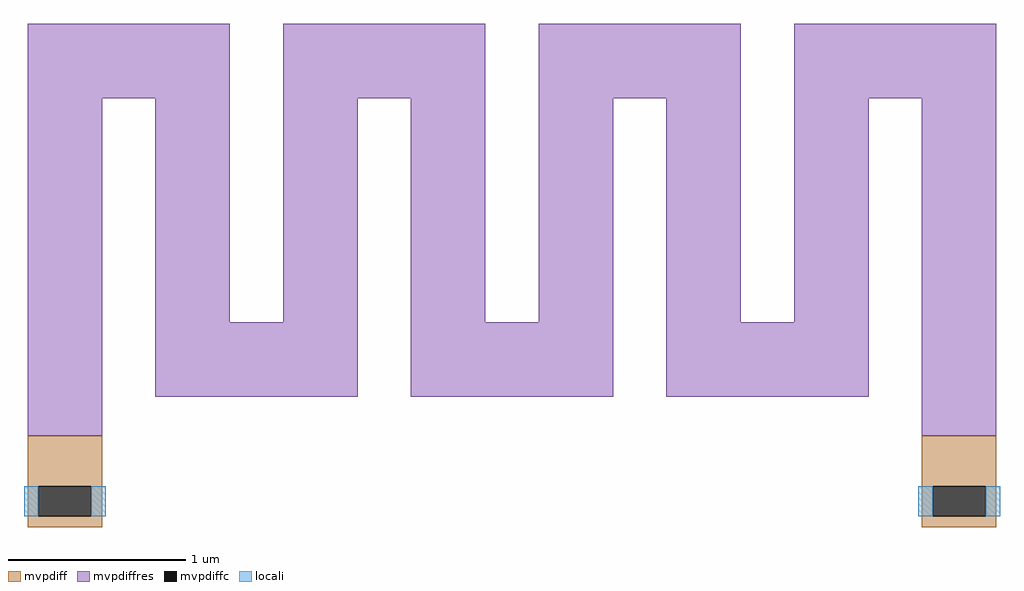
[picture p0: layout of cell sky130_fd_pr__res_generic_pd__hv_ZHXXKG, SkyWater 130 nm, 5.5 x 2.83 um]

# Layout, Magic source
magic
tech sky130A
magscale 1 2
<< mvpdiff >>
rect -546 -237 -462 -180
rect -546 -271 -534 -237
rect -474 -271 -462 -237
rect -546 -283 -462 -271
rect 462 -237 546 -180
rect 462 -271 474 -237
rect 534 -271 546 -237
rect 462 -283 546 -271
<< mvpdiffc >>
rect -534 -271 -474 -237
rect 474 -271 534 -237
<< mvpdiffres >>
rect -546 200 -318 284
rect -546 -180 -462 200
rect -402 -52 -318 200
rect -258 200 -30 284
rect -258 -52 -174 200
rect -402 -136 -174 -52
rect -114 -52 -30 200
rect 30 200 258 284
rect 30 -52 114 200
rect -114 -136 114 -52
rect 174 -52 258 200
rect 318 200 546 284
rect 318 -52 402 200
rect 174 -136 402 -52
rect 462 -180 546 200
<< locali >>
rect -550 -271 -534 -237
rect -474 -271 -458 -237
rect 458 -271 474 -237
rect 534 -271 550 -237
<< properties >>
string gencell sky130_fd_pr__res_generic_pd__hv
string library sky130
string parameters w 0.42 l 2.1 m 1 nx 8 wmin 0.42 lmin 2.10 rho 197 val 11.721k dummy 0 dw 0.02 term 0.0 sterm 0.0 caplen 0.60 snake 1 guard 0 glc 1 grc 1 gtc 1 gbc 1 roverlap 0 endcov 100 full_metal 1 vias 1 viagb 0 viagt 0 viagl 0 viagr 0
<< end >>
